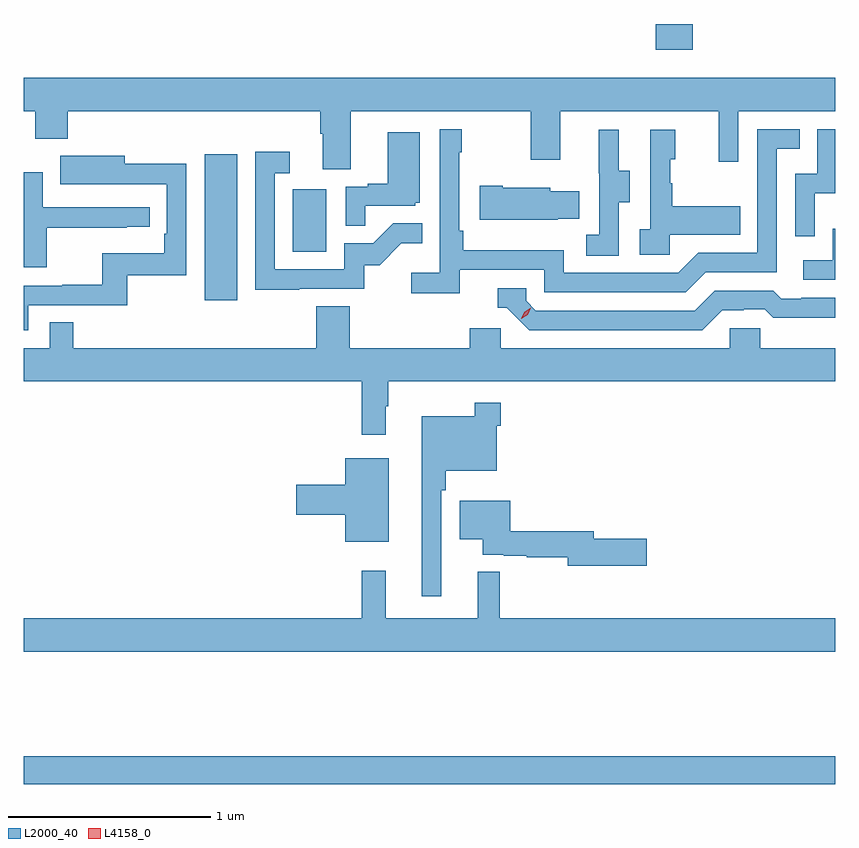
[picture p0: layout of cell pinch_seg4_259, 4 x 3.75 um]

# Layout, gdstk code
import gdstk
lib = gdstk.Library(unit=1e-6, precision=1e-09)
def R(c, l, rs):  # rectangles x0, y0, x1, y1
    for r in rs: c.add(gdstk.rectangle(r[:2], r[2:], *l))
def P(c, l, *ps):  # polygons
    for p in ps: c.add(gdstk.Polygon(p, *l))
L2000_40 = (2000, 40)
L4158_0 = (4158, 0)

pinch_seg4_259 = lib.new_cell('pinch_seg4_259')
R(pinch_seg4_259, L2000_40, [(924.344,813.484,928.344,813.62), (925.235,815.868,925.396,816.589), (925.67,816.108,925.834,816.415), (927.458,817.104,927.641,817.23)])
P(pinch_seg4_259, L2000_40, [(925.957,816.8),(926.842,816.8),(926.842,816.561),(926.989,816.561),(926.989,816.8),(927.77,816.8),(927.77,816.552),(927.867,816.552),(927.867,816.8),(928.344,816.8),(928.344,816.964),(924.344,816.964),(924.344,816.8),(924.4,816.8),(924.4,816.665),(924.56,816.665),(924.56,816.8),(925.805,816.8),(925.805,816.688),(925.817,816.688),(925.817,816.514),(925.957,816.514)],
  [(926.492,816.018),(926.91,816.018),(926.91,815.907),(927.607,815.907),(927.706,816.006),(928.056,816.006),(928.056,816.615),(928.169,816.615),(928.169,816.711),(927.96,816.711),(927.96,816.102),(927.669,816.102),(927.57,816.003),(927.006,816.003),(927.006,816.115),(926.51,816.115),(926.51,816.211),(926.49,816.211),(926.49,816.599),(926.503,816.599),(926.503,816.712),(926.394,816.712),(926.394,816.004),(926.253,816.004),(926.253,815.902),(926.492,815.902)],
  [(928.242,816.395),(928.344,816.395),(928.344,816.711),(928.254,816.711),(928.254,816.492),(928.146,816.492),(928.146,816.183),(928.242,816.183)],
  [(927.276,816.352),(927.331,816.352),(927.331,816.507),(927.277,816.507),(927.277,816.709),(927.179,816.709),(927.179,816.495),(927.18,816.495),(927.18,816.191),(927.117,816.191),(927.117,816.088),(927.276,816.088)],
  [(927.528,816.191),(927.875,816.191),(927.875,816.331),(927.541,816.331),(927.541,816.446),(927.531,816.446),(927.531,816.564),(927.556,816.564),(927.556,816.709),(927.432,816.709),(927.432,816.218),(927.381,816.218),(927.381,816.093),(927.528,816.093)],
  [(926.027,816.333),(926.274,816.333),(926.274,816.348),(926.296,816.348),(926.296,816.697),(926.138,816.697),(926.138,816.442),(926.039,816.442),(926.039,816.429),(925.932,816.429),(925.932,816.235),(926.027,816.235)],
  [(925.703,815.925),(926.022,815.925),(926.022,816.042),(926.098,816.042),(926.205,816.149),(926.309,816.149),(926.309,816.248),(926.165,816.248),(926.067,816.15),(925.923,816.15),(925.923,816.021),(925.581,816.021),(925.581,816.495),(925.654,816.495),(925.654,816.601),(925.485,816.601),(925.485,815.92),(925.703,815.92)],
  [(924.366,815.844),(924.853,815.844),(924.853,815.991),(925.146,815.991),(925.146,816.542),(924.841,816.542),(924.841,816.58),(924.523,816.58),(924.523,816.44),(924.737,816.44),(924.737,816.441),(925.05,816.441),(925.05,816.196),(925.037,816.196),(925.037,816.1),(924.732,816.1),(924.732,815.945),(924.535,815.945),(924.535,815.94),(924.344,815.94),(924.344,815.721),(924.366,815.721)],
  [(924.458,816.226),(924.851,816.226),(924.851,816.231),(924.964,816.231),(924.964,816.327),(924.438,816.327),(924.438,816.499),(924.344,816.499),(924.344,816.03),(924.458,816.03)],
  [(926.975,816.269),(927.083,816.269),(927.083,816.406),(926.94,816.406),(926.94,816.424),(926.704,816.424),(926.704,816.432),(926.592,816.432),(926.592,816.266),(926.975,816.266)],
  [(928.344,816.22),(928.332,816.22),(928.332,816.066),(928.185,816.066),(928.185,815.97),(928.344,815.97)],
  [(927.787,815.82),(927.894,815.82),(927.894,815.823),(927.997,815.823),(928.039,815.781),(928.272,815.781),(928.272,815.783),(928.344,815.783),(928.344,815.88),(928.177,815.88),(928.177,815.877),(928.078,815.877),(928.039,815.916),(927.75,815.916),(927.651,815.817),(926.868,815.817),(926.82,815.865),(926.82,815.928),(926.681,815.928),(926.681,815.832),(926.724,815.832),(926.835,815.721),(927.688,815.721)],
  [(926.128,815.345),(926.14,815.345),(926.14,815.468),(928.344,815.468),(928.344,815.632),(927.975,815.632),(927.975,815.73),(927.825,815.73),(927.825,815.632),(926.694,815.632),(926.694,815.73),(926.543,815.73),(926.543,815.632),(925.952,815.632),(925.952,815.84),(925.787,815.84),(925.787,815.632),(924.587,815.632),(924.587,815.759),(924.471,815.759),(924.471,815.632),(924.344,815.632),(924.344,815.468),(926.011,815.468),(926.011,815.205),(926.128,815.205)],
  [(926.403,814.931),(926.423,814.931),(926.423,815.027),(926.676,815.027),(926.676,815.249),(926.696,815.249),(926.696,815.362),(926.568,815.362),(926.568,815.296),(926.306,815.296),(926.306,814.41),(926.403,814.41)],
  [(926.143,815.089),(925.928,815.089),(925.928,814.958),(925.686,814.958),(925.686,814.811),(925.928,814.811),(925.928,814.679),(926.143,814.679)],
  [(927.415,814.694),(927.154,814.694),(927.154,814.73),(926.741,814.73),(926.741,814.879),(926.492,814.879),(926.492,814.691),(926.606,814.691),(926.606,814.614),(926.71,814.614),(926.71,814.608),(926.824,814.608),(926.824,814.602),(927.026,814.602),(927.026,814.559),(927.415,814.559)],
  [(928.344,814.3),(926.69,814.3),(926.69,814.529),(926.582,814.529),(926.582,814.3),(926.129,814.3),(926.129,814.534),(926.011,814.534),(926.011,814.3),(924.344,814.3),(924.344,814.136),(928.344,814.136)])
P(pinch_seg4_259, L4158_0, [(926.797,815.778),(926.797,815.779),(926.813,815.811),(926.844,815.831),(926.844,815.831),(926.844,815.831),(926.828,815.798),(926.797,815.778)])

lib.write_gds('pinch_seg4_259.gds')
